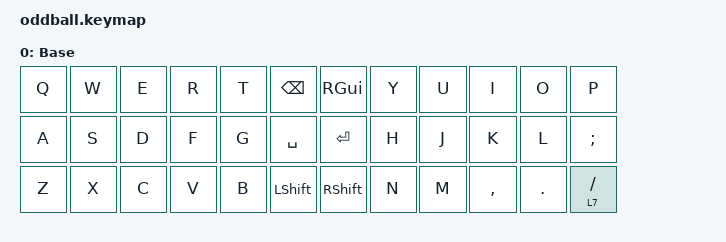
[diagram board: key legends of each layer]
#include <behaviors.dtsi>
#include <dt-bindings/zmk/bt.h>
#include <dt-bindings/zmk/keys.h>
#include <dt-bindings/zmk/pointing.h>
#include <dt-bindings/zmk/outputs.h>

&lt {
    tapping-term-ms = <240>;
    flavor = "balanced";
    quick-tap-ms = <150>;
};

&mt {
    global-quick-tap;
    flavor = "tap-preferred";
    tapping-term-ms = <200>;
};

&sk {
    release-after-ms = <2000>;
    quick-release;
};

/ {
    keymap {
        compatible = "zmk,keymap";

        Base {
            bindings = <
            &kp Q   &kp W   &kp E       &kp R       &kp T       &kp BSPC        &kp RGUI   &kp Y     &kp U       &kp I     &kp O       &kp P
            &kp A   &kp S   &kp D       &kp F       &kp G       &kp SPACE       &kp ENTER  &kp H     &kp J       &kp K     &kp L    &kp SEMI
            &kp Z   &kp X   &kp C       &kp V       &kp B       &kp LSHIFT      &kp RSHIFT &kp N     &kp M   &kp COMMA   &kp DOT &lt 7 SLASH
            >;
        };
    };
};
